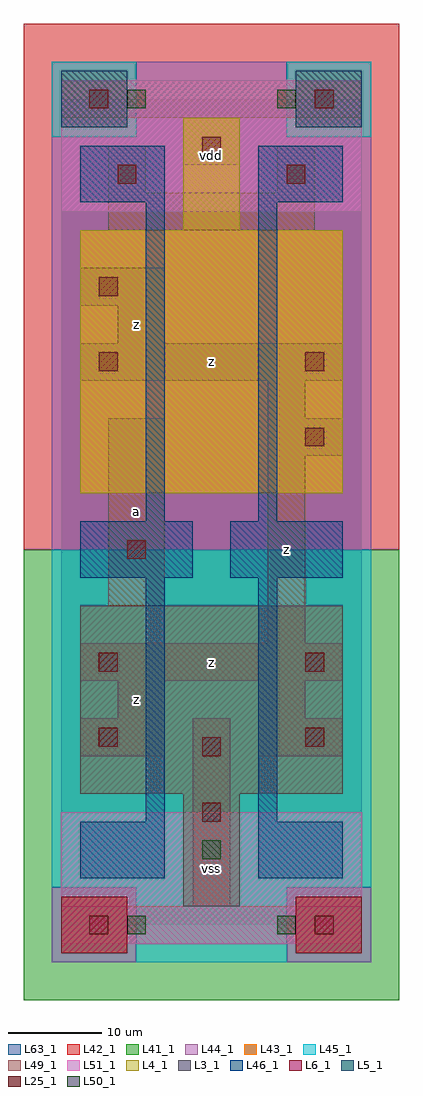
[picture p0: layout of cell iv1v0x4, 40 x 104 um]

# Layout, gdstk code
import gdstk
lib = gdstk.Library(unit=1e-6, precision=1e-09)
def R(c, l, rs):  # rectangles x0, y0, x1, y1
    for r in rs: c.add(gdstk.rectangle(r[:2], r[2:], *l))
L3_1 = (3, 1)
L4_1 = (4, 1)
L5_1 = (5, 1)
L6_1 = (6, 1)
L25_1 = (25, 1)
L41_1 = (41, 1)
L42_1 = (42, 1)
L43_1 = (43, 1)
L44_1 = (44, 1)
L45_1 = (45, 1)
L46_1 = (46, 1)
L49_1 = (49, 1)
L50_1 = (50, 1)
L51_1 = (51, 1)
L63_1 = (63, 1)

iv1v0x4 = lib.new_cell('iv1v0x4')
R(iv1v0x4, L3_1, [(13,2,19,14), (2,14,30,34)])
R(iv1v0x4, L4_1, [(2,46,30,74), (13,74,19,86)])
R(iv1v0x4, L5_1, [(0,85,7,91), (25,85,32,91)])
R(iv1v0x4, L6_1, [(0,-3,7,3), (0,-3,7,3), (25,-3,32,3), (25,-3,32,3)])
R(iv1v0x4, L25_1, [(3,-1,5,1), (27,-1,29,1), (15,11,17,13), (15,18,17,20), (4,19,6,21), (26,19,28,21), (4,27,6,29), (26,27,28,29), (7,39,9,41), (26,51,28,53), (4,59,6,61), (26,59,28,61), (4,67,6,69), (6,79,8,81), (24,79,26,81), (15,82,17,84), (3,87,5,89), (27,87,29,89)])
R(iv1v0x4, L41_1, [(-4,-8,36,40)])
R(iv1v0x4, L42_1, [(-4,40,36,96)])
R(iv1v0x4, L43_1, [(0,-3,7,3), (25,-3,32,3), (13,2,19,14), (2,14,30,34), (2,46,30,74), (13,74,19,86), (0,85,7,91), (25,85,32,91)])
R(iv1v0x4, L44_1, [(-1,-4,8,4), (24,-4,33,4), (-1,40,33,84), (8,84,24,92)])
R(iv1v0x4, L45_1, [(8,-4,24,4), (-1,4,33,40), (-1,84,8,92), (24,84,33,92)])
R(iv1v0x4, L46_1, [(2,5,11,11), (21,5,30,11), (9,11,11,37), (21,11,23,37), (2,37,14,43), (18,37,30,43), (9,43,11,77), (21,43,23,77), (2,77,11,83), (21,77,30,83)])
R(iv1v0x4, L49_1, [(0,-2,32,2), (14,2,18,22), (2,18,11,22), (21,18,30,22), (6,22,11,26), (21,22,26,26), (2,26,30,30), (22,30,26,50), (5,34,11,54), (22,50,30,54), (22,54,26,58), (2,58,30,62), (6,62,11,66), (2,66,11,70), (5,74,27,78), (5,78,9,83), (23,78,27,83), (13,81,19,86), (0,86,32,90)])
R(iv1v0x4, L50_1, [(7,-1,9,1), (23,-1,25,1), (15,7,17,9), (7,87,9,89), (23,87,25,89)])
R(iv1v0x4, L51_1, [(0,-2,32,12), (0,76,32,90)])
R(iv1v0x4, L63_1, [(0,0,32,88)])
iv1v0x4.add(gdstk.Label('z', (8,24), layer=49, texttype=1))
iv1v0x4.add(gdstk.Label('a', (8,44), layer=49, texttype=1))
iv1v0x4.add(gdstk.Label('z', (8,64), layer=49, texttype=1))
iv1v0x4.add(gdstk.Label('z', (16,28), layer=49, texttype=1))
iv1v0x4.add(gdstk.Label('z', (16,60), layer=49, texttype=1))
iv1v0x4.add(gdstk.Label('z', (24,40), layer=49, texttype=1))
iv1v0x4.add(gdstk.Label('vss', (16,6), layer=51, texttype=1))
iv1v0x4.add(gdstk.Label('vdd', (16,82), layer=51, texttype=1))

lib.write_gds('iv1v0x4.gds')
